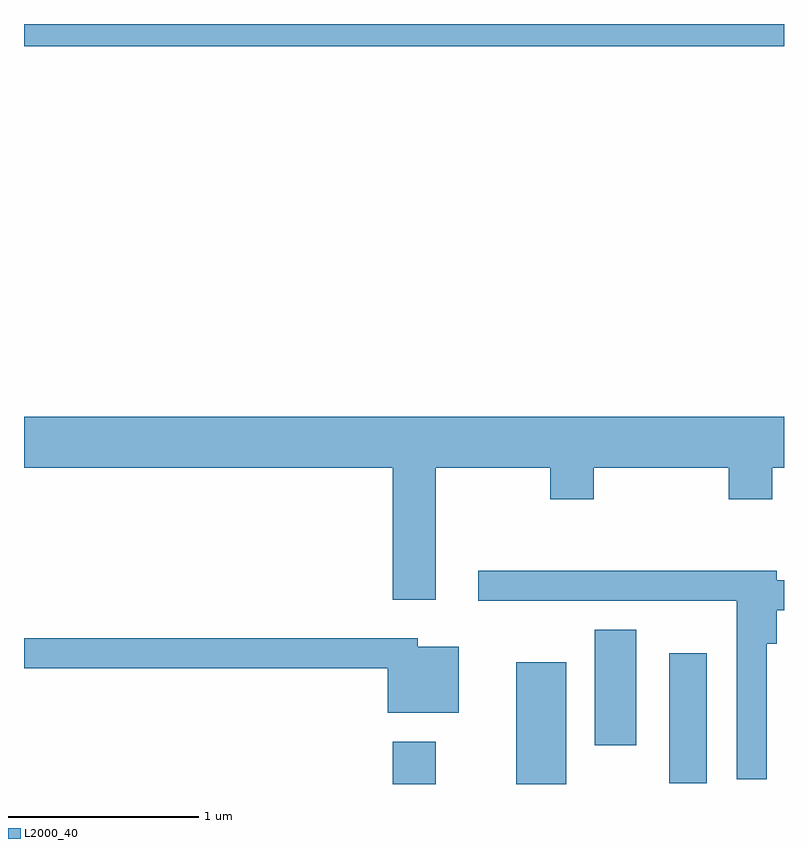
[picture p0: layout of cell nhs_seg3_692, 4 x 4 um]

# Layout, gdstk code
import gdstk
lib = gdstk.Library(unit=1e-6, precision=1e-09)
def R(c, l, rs):  # rectangles x0, y0, x1, y1
    for r in rs: c.add(gdstk.rectangle(r[:2], r[2:], *l))
def P(c, l, *ps):  # polygons
    for p in ps: c.add(gdstk.Polygon(p, *l))
L2000_40 = (2000, 40)

nhs_seg3_692 = lib.new_cell('nhs_seg3_692')
R(nhs_seg3_692, L2000_40, [(207.551,1139.892,207.779,1140.114), (208.201,1139.892,208.464,1140.534), (209.006,1139.896,209.204,1140.579), (208.616,1140.096,208.834,1140.704), (205.611,1143.776,209.611,1143.892)])
P(nhs_seg3_692, L2000_40, [(207.779,1141.556),(208.381,1141.556),(208.381,1141.391),(208.609,1141.391),(208.609,1141.556),(209.321,1141.556),(209.321,1141.391),(209.549,1141.391),(209.549,1141.556),(209.611,1141.556),(209.611,1141.824),(205.611,1141.824),(205.611,1141.556),(207.551,1141.556),(207.551,1140.861),(207.779,1140.861)],
  [(209.519,1140.631),(209.574,1140.631),(209.574,1140.806),(209.611,1140.806),(209.611,1140.964),(209.574,1140.964),(209.574,1141.014),(208.003,1141.014),(208.003,1140.856),(209.361,1140.856),(209.361,1139.918),(209.519,1139.918)],
  [(207.899,1140.614),(207.684,1140.614),(207.684,1140.659),(205.611,1140.659),(205.611,1140.501),(207.526,1140.501),(207.526,1140.266),(207.899,1140.266)])

lib.write_gds('nhs_seg3_692.gds')
